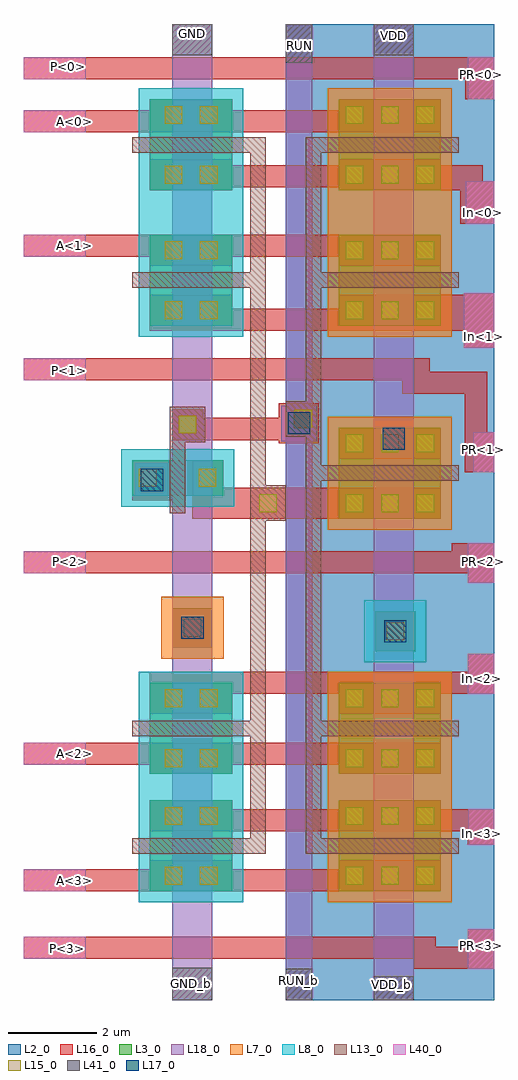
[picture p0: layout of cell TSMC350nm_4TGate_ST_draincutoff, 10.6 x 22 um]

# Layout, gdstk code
from math import pi, radians
import gdstk
lib = gdstk.Library(unit=1e-6, precision=1e-09)
def R(c, l, rs):  # rectangles x0, y0, x1, y1
    for r in rs: c.add(gdstk.rectangle(r[:2], r[2:], *l))
def A(c, l, x, y, w, h, nx, ny, dx, dy):  # array of equal rectangles
    R(c, l, [(x+i*dx, y+j*dy, x+i*dx+w, y+j*dy+h) for i in range(nx) for j in range(ny)])
L2_0 = (2, 0)
L3_0 = (3, 0)
L7_0 = (7, 0)
L8_0 = (8, 0)
L13_0 = (13, 0)
L15_0 = (15, 0)
L16_0 = (16, 0)
L17_0 = (17, 0)
L18_0 = (18, 0)
L40_0 = (40, 0)
L41_0 = (41, 0)

nch_cdns_745435439410 = lib.new_cell('nch_CDNS_745435439410')
R(nch_cdns_745435439410, L3_0, [(-0.85,0,-0.15,0.8), (-0.85,0,-0.15,0.8), (-0.15,0,0.5,0.8), (0.5,0,1.2,0.8), (0.5,0,1.2,0.8)])
R(nch_cdns_745435439410, L8_0, [(-1.1,-0.25,1.45,1.05)])
R(nch_cdns_745435439410, L13_0, [(0,-0.4,0.35,1.2)])
R(nch_cdns_745435439410, L15_0, [(-0.7,0.2,-0.3,0.6), (0.65,0.2,1.05,0.6)])
R(nch_cdns_745435439410, L16_0, [(-0.85,0,-0.15,0.8), (0.5,0,1.2,0.8)])
nch_cdns_745435439410.add(gdstk.Label('D', (0.85,0.4), layer=59, texttype=0))
nch_cdns_745435439410.add(gdstk.Label('S', (-0.5,0.4), layer=59, texttype=0))
nch_cdns_745435439410.add(gdstk.Label('G', (0.175,0.4), layer=59, texttype=0))
nch_cdns_745435439410.add(gdstk.Label('& SerialNumber 000000', (0,0), layer=16, texttype=0))
nch_cdns_745435439410.add(gdstk.Label('& Distributor VIS', (0,0), layer=16, texttype=0))
nch_cdns_745435439410.add(gdstk.Label('& Metric 1', (0,0), layer=16, texttype=0))
nch_cdns_745435439410.add(gdstk.Label('& Version    \t  1.7A', (0,0), layer=16, texttype=0))
nch_cdns_745435439410.add(gdstk.Label('& PDKName     vis35cv', (0,0), layer=16, texttype=0))
nch_cdns_745435439410.add(gdstk.Label('& Vendor VIS Corp.', (0,0), layer=16, texttype=0))
nch_cdns_745435439410.add(gdstk.Label('& SerialNumber 000000', (0,0), layer=63, texttype=63))
nch_cdns_745435439410.add(gdstk.Label('& Distributor VIS', (0,0), layer=63, texttype=63))
nch_cdns_745435439410.add(gdstk.Label('& Metric 1', (0,0), layer=63, texttype=63))
nch_cdns_745435439410.add(gdstk.Label('& Version    \t  1.7A', (0,0), layer=63, texttype=63))
nch_cdns_745435439410.add(gdstk.Label('& PDKName     vis35cv', (0,0), layer=63, texttype=63))
nch_cdns_745435439410.add(gdstk.Label('& Vendor VIS Corp.', (0,0), layer=63, texttype=63))

pch_cdns_745435439411 = lib.new_cell('pch_CDNS_745435439411')
R(pch_cdns_745435439411, L2_0, [(-2.05,-1.2,2.4,3.5)])
R(pch_cdns_745435439411, L3_0, [(-0.85,0,-0.15,2.3), (-0.85,0,-0.15,2.3), (-0.15,0,0.5,2.3), (0.5,0,1.2,2.3), (0.5,0,1.2,2.3)])
R(pch_cdns_745435439411, L7_0, [(-1.1,-0.25,1.45,2.55)])
R(pch_cdns_745435439411, L13_0, [(0,-0.4,0.35,2.7)])
A(pch_cdns_745435439411, L15_0, -0.7, 0.15, 0.4, 0.4, 1, 3, 0, 0.8)
A(pch_cdns_745435439411, L15_0, 0.65, 0.15, 0.4, 0.4, 1, 3, 0, 0.8)
R(pch_cdns_745435439411, L16_0, [(-0.85,0,-0.15,2.3), (0.5,0,1.2,2.3)])
pch_cdns_745435439411.add(gdstk.Label('D', (0.85,1.15), layer=59, texttype=0))
pch_cdns_745435439411.add(gdstk.Label('S', (-0.5,1.15), layer=59, texttype=0))
pch_cdns_745435439411.add(gdstk.Label('G', (0.175,1.15), layer=59, texttype=0))
pch_cdns_745435439411.add(gdstk.Label('& SerialNumber 000000', (0,0), layer=16, texttype=0))
pch_cdns_745435439411.add(gdstk.Label('& Distributor VIS', (0,0), layer=16, texttype=0))
pch_cdns_745435439411.add(gdstk.Label('& Metric 1', (0,0), layer=16, texttype=0))
pch_cdns_745435439411.add(gdstk.Label('& Version    \t  1.7A', (0,0), layer=16, texttype=0))
pch_cdns_745435439411.add(gdstk.Label('& PDKName     vis35cv', (0,0), layer=16, texttype=0))
pch_cdns_745435439411.add(gdstk.Label('& Vendor VIS Corp.', (0,0), layer=16, texttype=0))
pch_cdns_745435439411.add(gdstk.Label('& SerialNumber 000000', (0,0), layer=63, texttype=63))
pch_cdns_745435439411.add(gdstk.Label('& Distributor VIS', (0,0), layer=63, texttype=63))
pch_cdns_745435439411.add(gdstk.Label('& Metric 1', (0,0), layer=63, texttype=63))
pch_cdns_745435439411.add(gdstk.Label('& Version    \t  1.7A', (0,0), layer=63, texttype=63))
pch_cdns_745435439411.add(gdstk.Label('& PDKName     vis35cv', (0,0), layer=63, texttype=63))
pch_cdns_745435439411.add(gdstk.Label('& Vendor VIS Corp.', (0,0), layer=63, texttype=63))

nch_cdns_745435439412 = lib.new_cell('nch_CDNS_745435439412')
R(nch_cdns_745435439412, L3_0, [(-0.85,0,-0.15,1.86), (-0.85,0,-0.15,1.86), (-0.15,0,0.5,1.86), (0.5,0,1.2,1.86), (0.5,0,1.2,1.86)])
R(nch_cdns_745435439412, L8_0, [(-1.1,-0.25,1.45,2.11)])
R(nch_cdns_745435439412, L13_0, [(0,-0.4,0.35,2.26)])
R(nch_cdns_745435439412, L15_0, [(-0.7,0.33,-0.3,0.73), (0.65,0.33,1.05,0.73), (-0.7,1.13,-0.3,1.53), (0.65,1.13,1.05,1.53)])
R(nch_cdns_745435439412, L16_0, [(-0.85,0,-0.15,1.86), (0.5,0,1.2,1.86)])
nch_cdns_745435439412.add(gdstk.Label('D', (0.85,0.93), layer=59, texttype=0))
nch_cdns_745435439412.add(gdstk.Label('S', (-0.5,0.93), layer=59, texttype=0))
nch_cdns_745435439412.add(gdstk.Label('G', (0.175,0.93), layer=59, texttype=0))
nch_cdns_745435439412.add(gdstk.Label('& SerialNumber 000000', (0,0), layer=16, texttype=0))
nch_cdns_745435439412.add(gdstk.Label('& Distributor VIS', (0,0), layer=16, texttype=0))
nch_cdns_745435439412.add(gdstk.Label('& Metric 1', (0,0), layer=16, texttype=0))
nch_cdns_745435439412.add(gdstk.Label('& Version    \t  1.7A', (0,0), layer=16, texttype=0))
nch_cdns_745435439412.add(gdstk.Label('& PDKName     vis35cv', (0,0), layer=16, texttype=0))
nch_cdns_745435439412.add(gdstk.Label('& Vendor VIS Corp.', (0,0), layer=16, texttype=0))
nch_cdns_745435439412.add(gdstk.Label('& SerialNumber 000000', (0,0), layer=63, texttype=63))
nch_cdns_745435439412.add(gdstk.Label('& Distributor VIS', (0,0), layer=63, texttype=63))
nch_cdns_745435439412.add(gdstk.Label('& Metric 1', (0,0), layer=63, texttype=63))
nch_cdns_745435439412.add(gdstk.Label('& Version    \t  1.7A', (0,0), layer=63, texttype=63))
nch_cdns_745435439412.add(gdstk.Label('& PDKName     vis35cv', (0,0), layer=63, texttype=63))
nch_cdns_745435439412.add(gdstk.Label('& Vendor VIS Corp.', (0,0), layer=63, texttype=63))

m1_nactive_cdns_74543543 = lib.new_cell('M1_NACTIVE_CDNS_745435439410')
R(m1_nactive_cdns_74543543, L3_0, [(-0.45,-0.45,0.45,0.45)])
R(m1_nactive_cdns_74543543, L8_0, [(-0.7,-0.7,0.7,0.7)])
R(m1_nactive_cdns_74543543, L15_0, [(-0.2,-0.2,0.2,0.2)])
R(m1_nactive_cdns_74543543, L16_0, [(-0.35,-0.35,0.35,0.35)])

m2_m1_cdns_745435439411 = lib.new_cell('M2_M1_CDNS_745435439411')
R(m2_m1_cdns_745435439411, L16_0, [(-0.45,-0.45,0.45,0.45)])
R(m2_m1_cdns_745435439411, L17_0, [(-0.25,-0.25,0.25,0.25)])
R(m2_m1_cdns_745435439411, L18_0, [(-0.4,-0.4,0.4,0.4)])

m1_poly1_cdns_7454354394 = lib.new_cell('M1_POLY1_CDNS_745435439412')
R(m1_poly1_cdns_7454354394, L13_0, [(-0.4,-0.4,0.4,0.4)])
R(m1_poly1_cdns_7454354394, L15_0, [(-0.2,-0.2,0.2,0.2)])
R(m1_poly1_cdns_7454354394, L16_0, [(-0.35,-0.35,0.35,0.35)])

m1_pactive_cdns_74543543 = lib.new_cell('M1_PACTIVE_CDNS_745435439413')
R(m1_pactive_cdns_74543543, L3_0, [(-0.45,-0.45,0.45,0.45)])
R(m1_pactive_cdns_74543543, L7_0, [(-0.7,-0.7,0.7,0.7)])
R(m1_pactive_cdns_74543543, L15_0, [(-0.2,-0.2,0.2,0.2)])
R(m1_pactive_cdns_74543543, L16_0, [(-0.35,-0.35,0.35,0.35)])

tsmc350nm_4tgate_st_drai = lib.new_cell('TSMC350nm_4TGate_ST_draincutoff')
R(tsmc350nm_4tgate_st_drai, L2_0, [(5.9,0,10.6,1.47), (5.9,8.35,10.6,14.4), (5.9,19.25,10.6,22)])
R(tsmc350nm_4tgate_st_drai, L7_0, [(6.85,4.75,9.65,4.85), (6.85,17.5,9.65,18)])
R(tsmc350nm_4tgate_st_drai, L8_0, [(2.59,4.75,4.95,4.85), (2.59,17.5,4.95,18)])
R(tsmc350nm_4tgate_st_drai, L13_0, [(5.1,3.3,5.45,11.79), (6.35,3.3,6.7,11.86), (5.1,11.79,5.45,19.45), (6.35,11.86,6.7,19.45)])
R(tsmc350nm_4tgate_st_drai, L16_0, [(10,0.7,10.6,1.6), (10,3.5,10.6,3.8), (10.01,7.4,10.6,7.8), (10,9.4,10.6,10.3), (9.94,11.9,10.6,12.8), (8.53,13.66,9.15,14.47), (9.91,14.7,10.6,15.93), (9.4,15.58,9.91,15.9), (10.34,18,10.6,18.45), (9.4,18.25,9.84,18.32), (9.95,20.3,10.6,21.25)])
R(tsmc350nm_4tgate_st_drai, L18_0, [(3.09,11.32,3.35,12.12)])
R(tsmc350nm_4tgate_st_drai, L40_0, [(10,0.7,10.6,1.6), (0,0.93,1.4,1.43), (0,2.45,1.4,2.95), (10.02,3.5,10.6,4.3), (0,5.3,1.4,5.8), (10.01,6.9,10.6,7.8), (10,9.4,10.6,10.3), (0,9.62,1.4,10.12), (10.13,11.9,10.6,12.8), (0,13.97,1.4,14.47), (9.91,14.7,10.6,15.93), (0,16.75,1.4,17.25), (9.96,17.5,10.6,18.45), (0,19.56,1.4,20.06), (10,20.3,10.6,21.25), (0,20.75,1.4,21.25)])
R(tsmc350nm_4tgate_st_drai, L41_0, [(3.35,0,4.25,0.73), (5.9,0,6.5,0.71), (7.89,0,8.79,0.54), (5.9,21.13,6.5,22), (3.35,21.3,4.25,22), (7.89,21.3,8.79,22)])
tsmc350nm_4tgate_st_drai.add(gdstk.FlexPath([(7.18,11.2),(3.79,11.2)], 0.7, ends="flush", simple_path=True, layer=16, datatype=0))  # L16_0
tsmc350nm_4tgate_st_drai.add(gdstk.FlexPath([(6.4,12.87),(6.4,12.91)], 0.5, ends=(0.25, 0), simple_path=True, layer=16, datatype=0))  # L16_0
tsmc350nm_4tgate_st_drai.add(gdstk.FlexPath([(3.39,12.87),(6.4,12.87)], 0.5, ends=(0, 0.25), simple_path=True, layer=16, datatype=0))  # L16_0
tsmc350nm_4tgate_st_drai.add(gdstk.FlexPath([(10.09,17.75),(10.09,18.57)], 0.5, ends="extended", simple_path=True, layer=16, datatype=0))  # L16_0
tsmc350nm_4tgate_st_drai.add(gdstk.FlexPath([(10.6,17.75),(10.09,17.75)], 0.5, ends=(0, 0.25), simple_path=True, layer=16, datatype=0))  # L16_0
tsmc350nm_4tgate_st_drai.add(gdstk.FlexPath([(10.09,18.57),(9.4,18.57)], 0.5, ends=(0.25, 0), simple_path=True, layer=16, datatype=0))  # L16_0
tsmc350nm_4tgate_st_drai.add(gdstk.FlexPath([(0,14.22),(8.79,14.22)], 0.5, ends="flush", simple_path=True, layer=16, datatype=0))  # L16_0
tsmc350nm_4tgate_st_drai.add(gdstk.FlexPath([(10.19,12.15),(10.19,13.91)], 0.5, ends="extended", simple_path=True, layer=16, datatype=0))  # L16_0
tsmc350nm_4tgate_st_drai.add(gdstk.FlexPath([(9.9,9.87),(0,9.87)], 0.5, ends=(0.25, 0), simple_path=True, layer=16, datatype=0))  # L16_0
tsmc350nm_4tgate_st_drai.add(gdstk.FlexPath([(10.6,12.15),(10.19,12.15)], 0.5, ends=(0, 0.25), simple_path=True, layer=16, datatype=0))  # L16_0
tsmc350nm_4tgate_st_drai.add(gdstk.FlexPath([(0,21),(10.2,21)], 0.5, ends=(0, 0.25), simple_path=True, layer=16, datatype=0))  # L16_0
tsmc350nm_4tgate_st_drai.add(gdstk.FlexPath([(10.6,20.55),(10.2,20.55)], 0.5, ends=(0, 0.25), simple_path=True, layer=16, datatype=0))  # L16_0
tsmc350nm_4tgate_st_drai.add(gdstk.FlexPath([(10.2,20.55),(10.2,21)], 0.5, ends="extended", simple_path=True, layer=16, datatype=0))  # L16_0
tsmc350nm_4tgate_st_drai.add(gdstk.FlexPath([(10.2,21),(10.45,21)], 0.5, ends=(0.25, 0), simple_path=True, layer=16, datatype=0))  # L16_0
tsmc350nm_4tgate_st_drai.add(gdstk.FlexPath([(10.2,21),(10.2,21.25)], 0.5, ends=(0.25, 0), simple_path=True, layer=16, datatype=0))  # L16_0
tsmc350nm_4tgate_st_drai.add(gdstk.FlexPath([(10.6,0.95),(9.03,0.95)], 0.5, ends=(0, 0.25), simple_path=True, layer=16, datatype=0))  # L16_0
tsmc350nm_4tgate_st_drai.add(gdstk.FlexPath([(9.03,0.95),(9.03,1.18)], 0.5, ends="extended", simple_path=True, layer=16, datatype=0))  # L16_0
tsmc350nm_4tgate_st_drai.add(gdstk.FlexPath([(9.03,1.18),(0,1.18)], 0.5, ends=(0.25, 0), simple_path=True, layer=16, datatype=0))  # L16_0
tsmc350nm_4tgate_st_drai.add(gdstk.FlexPath([(10.19,13.91),(8.79,13.91)], 0.5, ends=(0.25, 0), simple_path=True, layer=16, datatype=0))  # L16_0
tsmc350nm_4tgate_st_drai.add(gdstk.FlexPath([(10.6,10.05),(9.9,10.05)], 0.5, ends=(0, 0.25), simple_path=True, layer=16, datatype=0))  # L16_0
tsmc350nm_4tgate_st_drai.add(gdstk.FlexPath([(9.9,10.05),(9.9,9.87)], 0.5, ends="extended", simple_path=True, layer=16, datatype=0))  # L16_0
tsmc350nm_4tgate_st_drai.add(gdstk.FlexPath([(10.6,15.33),(2.84,15.33)], 0.5, ends="flush", simple_path=True, layer=16, datatype=0))  # L16_0
tsmc350nm_4tgate_st_drai.add(gdstk.FlexPath([(9.4,18.57),(2.84,18.57)], 0.5, ends="flush", simple_path=True, layer=16, datatype=0))  # L16_0
tsmc350nm_4tgate_st_drai.add(gdstk.FlexPath([(10.6,7.15),(2.84,7.15)], 0.5, ends="flush", simple_path=True, layer=16, datatype=0))  # L16_0
tsmc350nm_4tgate_st_drai.add(gdstk.FlexPath([(9.4,2.7),(0,2.7)], 0.5, ends="flush", simple_path=True, layer=16, datatype=0))  # L16_0
tsmc350nm_4tgate_st_drai.add(gdstk.FlexPath([(0,19.81),(9.4,19.81)], 0.5, ends="flush", simple_path=True, layer=16, datatype=0))  # L16_0
tsmc350nm_4tgate_st_drai.add(gdstk.FlexPath([(9.4,17),(0,17)], 0.5, ends="flush", simple_path=True, layer=16, datatype=0))  # L16_0
tsmc350nm_4tgate_st_drai.add(gdstk.FlexPath([(9.4,5.55),(0,5.55)], 0.5, ends="flush", simple_path=True, layer=16, datatype=0))  # L16_0
tsmc350nm_4tgate_st_drai.add(gdstk.FlexPath([(10.6,4.05),(2.84,4.05)], 0.5, ends="flush", simple_path=True, layer=16, datatype=0))  # L16_0
tsmc350nm_4tgate_st_drai.add(gdstk.FlexPath([(6.2,0),(6.2,22)], 0.6, ends="flush", simple_path=True, layer=18, datatype=0))  # L18_0
tsmc350nm_4tgate_st_drai.add(gdstk.FlexPath([(8.34,0),(8.34,22)], 0.9, ends="flush", simple_path=True, layer=18, datatype=0))  # L18_0
tsmc350nm_4tgate_st_drai.add(gdstk.FlexPath([(3.8,0),(3.8,22)], 0.9, ends="flush", simple_path=True, layer=18, datatype=0))  # L18_0
tsmc350nm_4tgate_st_drai.add(gdstk.Reference(nch_cdns_745435439410, (3.64,11.37), rotation=pi, x_reflection=True))
tsmc350nm_4tgate_st_drai.add(gdstk.Reference(pch_cdns_745435439411, (7.1,11.7), rotation=pi/2, x_reflection=True))
tsmc350nm_4tgate_st_drai.add(gdstk.Reference(pch_cdns_745435439411, (9.4,5.95), rotation=pi/2))
tsmc350nm_4tgate_st_drai.add(gdstk.Reference(pch_cdns_745435439411, (9.4,3.3), rotation=pi/2))
tsmc350nm_4tgate_st_drai.add(gdstk.Reference(pch_cdns_745435439411, (9.4,16.05), rotation=pi/2))
tsmc350nm_4tgate_st_drai.add(gdstk.Reference(pch_cdns_745435439411, (9.4,19.1), rotation=pi/2))
tsmc350nm_4tgate_st_drai.add(gdstk.Reference(nch_cdns_745435439412, (4.7,3.3), rotation=pi/2))
tsmc350nm_4tgate_st_drai.add(gdstk.Reference(nch_cdns_745435439412, (4.7,5.95), rotation=pi/2))
tsmc350nm_4tgate_st_drai.add(gdstk.Reference(nch_cdns_745435439412, (4.7,16.05), rotation=pi/2))
tsmc350nm_4tgate_st_drai.add(gdstk.Reference(nch_cdns_745435439412, (4.7,19.1), rotation=pi/2))
tsmc350nm_4tgate_st_drai.add(gdstk.Reference(m1_nactive_cdns_74543543, (8.37,8.31), rotation=pi, x_reflection=True))
tsmc350nm_4tgate_st_drai.add(gdstk.Reference(m2_m1_cdns_745435439411, (2.89,11.72), rotation=pi, x_reflection=True))
tsmc350nm_4tgate_st_drai.add(gdstk.Reference(m2_m1_cdns_745435439411, (6.2,13), rotation=pi, x_reflection=True))
tsmc350nm_4tgate_st_drai.add(gdstk.Reference(m2_m1_cdns_745435439411, (8.37,8.31), rotation=pi, x_reflection=True))
tsmc350nm_4tgate_st_drai.add(gdstk.Reference(m2_m1_cdns_745435439411, (3.8,8.39), rotation=pi, x_reflection=True))
tsmc350nm_4tgate_st_drai.add(gdstk.Reference(m2_m1_cdns_745435439411, (8.34,12.65), rotation=pi, x_reflection=True))
tsmc350nm_4tgate_st_drai.add(gdstk.Reference(m1_poly1_cdns_7454354394, (5.5,11.2), rotation=pi, x_reflection=True))
tsmc350nm_4tgate_st_drai.add(gdstk.Reference(m1_poly1_cdns_7454354394, (3.69,12.97), rotation=pi, x_reflection=True))
tsmc350nm_4tgate_st_drai.add(gdstk.Reference(m1_poly1_cdns_7454354394, (6.3,13.1), rotation=pi, x_reflection=True))
tsmc350nm_4tgate_st_drai.add(gdstk.Reference(m1_pactive_cdns_74543543, (3.8,8.39), rotation=pi, x_reflection=True))
tsmc350nm_4tgate_st_drai.add(gdstk.Label('In<0>', (10.34,17.75), layer=40, texttype=0))
tsmc350nm_4tgate_st_drai.add(gdstk.Label('In<1>', (10.36,14.96), layer=40, texttype=0))
tsmc350nm_4tgate_st_drai.add(gdstk.Label('In<2>', (10.31,7.25), layer=40, texttype=0))
tsmc350nm_4tgate_st_drai.add(gdstk.Label('In<3>', (10.31,3.75), layer=40, texttype=0))
tsmc350nm_4tgate_st_drai.add(gdstk.Label('A<0>', (1.14,19.81), layer=40, texttype=0))
tsmc350nm_4tgate_st_drai.add(gdstk.Label('A<1>', (1.14,17), layer=40, texttype=0))
tsmc350nm_4tgate_st_drai.add(gdstk.Label('A<2>', (1.15,5.55), layer=40, texttype=0))
tsmc350nm_4tgate_st_drai.add(gdstk.Label('A<3>', (1.15,2.7), layer=40, texttype=0))
tsmc350nm_4tgate_st_drai.add(gdstk.Label('P<0>', (1.01,21.04), layer=40, texttype=0))
tsmc350nm_4tgate_st_drai.add(gdstk.Label('P<1>', (1.02,14.2), layer=40, texttype=0))
tsmc350nm_4tgate_st_drai.add(gdstk.Label('P<2>', (1.06,9.89), layer=40, texttype=0))
tsmc350nm_4tgate_st_drai.add(gdstk.Label('P<3>', (0.99,1.16), layer=40, texttype=0))
tsmc350nm_4tgate_st_drai.add(gdstk.Label('PR<0>', (10.31,20.87), layer=40, texttype=0))
tsmc350nm_4tgate_st_drai.add(gdstk.Label('PR<1>', (10.36,12.42), layer=40, texttype=0))
tsmc350nm_4tgate_st_drai.add(gdstk.Label('PR<2>', (10.35,9.89), layer=40, texttype=0))
tsmc350nm_4tgate_st_drai.add(gdstk.Label('PR<3>', (10.31,1.22), layer=40, texttype=0))
tsmc350nm_4tgate_st_drai.add(gdstk.Label('VDD_b', (8.28,0.35), layer=41, texttype=0))
tsmc350nm_4tgate_st_drai.add(gdstk.Label('RUN', (6.22,21.52), layer=41, texttype=0))
tsmc350nm_4tgate_st_drai.add(gdstk.Label('VDD', (8.34,21.75), layer=41, texttype=0))
tsmc350nm_4tgate_st_drai.add(gdstk.Label('GND', (3.8,21.78), layer=41, texttype=0))
tsmc350nm_4tgate_st_drai.add(gdstk.Label('GND_b', (3.77,0.37), layer=41, texttype=0))
tsmc350nm_4tgate_st_drai.add(gdstk.Label('RUN_b', (6.2,0.45), layer=41, texttype=0))

lib.write_gds('TSMC350nm_4TGate_ST_draincutoff.gds')
